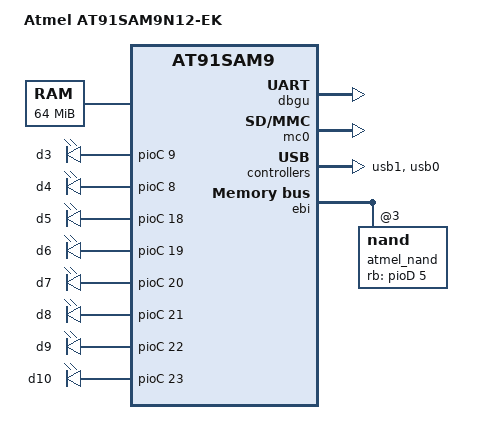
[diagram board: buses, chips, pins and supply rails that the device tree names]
/*
 * at91sam9n12ek.dts - Device Tree file for AT91SAM9N12-EK board
 *
 *  Copyright (C) 2012 Atmel,
 *                2012 Hong Xu <hong.xu@atmel.com>
 *
 * Licensed under GPLv2 or later.
 */
/dts-v1/;
#include "at91sam9n12.dtsi"

/ {
    model = "Atmel AT91SAM9N12-EK";
    compatible = "atmel,at91sam9n12ek", "atmel,at91sam9n12", "atmel,at91sam9";

    chosen {
        bootargs = "mem=64M console=ttyS0,115200 mtdparts=atmel_nand:16M(bootstrap/kernel)ro,-(rootfs) rw rootfstype=ubifs ubi.mtd=1 root=ubi0:rootfs";
        stdout-path = "serial0:115200n8";
    };

    memory {
        /* 64 MB */
        reg = <0x20000000 0x4000000>;
    };

    clocks {
        slow_xtal {
            clock-frequency = <32000>;
        };

        main_xtal {
            clock-frequency = <12000000>;
        };
    };

    ahb {
        apb {
            dbgu: serial@fffff200 {
                status = "okay";
            };

            mc0: mmc@f0008000 {
                pinctrl-0 = <
                    &pinctrl_board_mmc0
                    &pinctrl_mmc0_slot0_dat1_3>;
                status = "okay";
                slot@0 {
                    reg = <0>;
                    bus-width = <4>;
                    cd-gpios = <&pioA 7 GPIO_ACTIVE_LOW>;
                };
            };
            
            pinctrl@fffff400 {
                mmc0 {
                    pinctrl_board_mmc0: mmc0-board {
                        atmel,pins = <AT91_PIOA 7 AT91_PERIPH_GPIO AT91_PINCTRL_PULL_UP_DEGLITCH>;    /* SD Card gpio CD pin pull up and deglitch */         
                    };
                };
            };
            
            usb1: gadget@f803c000 {
                status = "okay";
            }; 
        };
        
        ebi: ebi@10000000 {
            status = "okay";

            nand_controller: nand-controller {
                status = "okay";
                pinctrl-0 = <&pinctrl_nand_cs &pinctrl_nand_rb>;
                pinctrl-names = "default";

                nand@3 {
                    reg = <0x3 0x0 0x800000>;
                    rb-gpios = <&pioD 5 GPIO_ACTIVE_HIGH>;
                    cs-gpios = <&pioD 4 GPIO_ACTIVE_HIGH>;
                    nand-bus-width = <8>;
                    nand-ecc-mode = "none";
                    nand-ecc-strength = <4>;
                    nand-ecc-step-size = <512>;
                    /* nand-on-flash-bbt; */ 	/* enables bad block check */
                    label = "atmel_nand";
                };
            };
        };

        usb0: ohci@500000 {
            num-ports = <1>;
            status = "okay";
        };
    };
    
    leds {
        compatible = "gpio-leds";

        d3 {
            label = "d3";
            gpios = <&pioC 9 GPIO_ACTIVE_HIGH>;
            linux,default-trigger = "heartbeat";
        };
        
        d4 {
            label = "d4";
            gpios = <&pioC 8 GPIO_ACTIVE_HIGH>;
            linux,default-trigger = "cpu0";
        };
        
        d5 {
            label = "d5";
            gpios = <&pioC 18 GPIO_ACTIVE_HIGH>;
            linux,default-trigger = "mmc0";
        };
        
        d6 {
            label = "d6";
            gpios = <&pioC 19 GPIO_ACTIVE_HIGH>;
            linux,default-trigger = "nand_controller";
        };
        
        d7 {
            label = "d7";
            gpios = <&pioC 20 GPIO_ACTIVE_HIGH>;
            default-state = "off";
        };

        d8 {
            label = "d8";
            gpios = <&pioC 21 GPIO_ACTIVE_HIGH>;
            default-state = "off";
        };

        d9 {
            label = "d9";
            gpios = <&pioC 22 GPIO_ACTIVE_HIGH>;
            default-state = "off";
        };

        d10 {
            label = "d10";
            gpios = <&pioC 23 GPIO_ACTIVE_HIGH>;
            default-state = "off";
        };
    };
};
